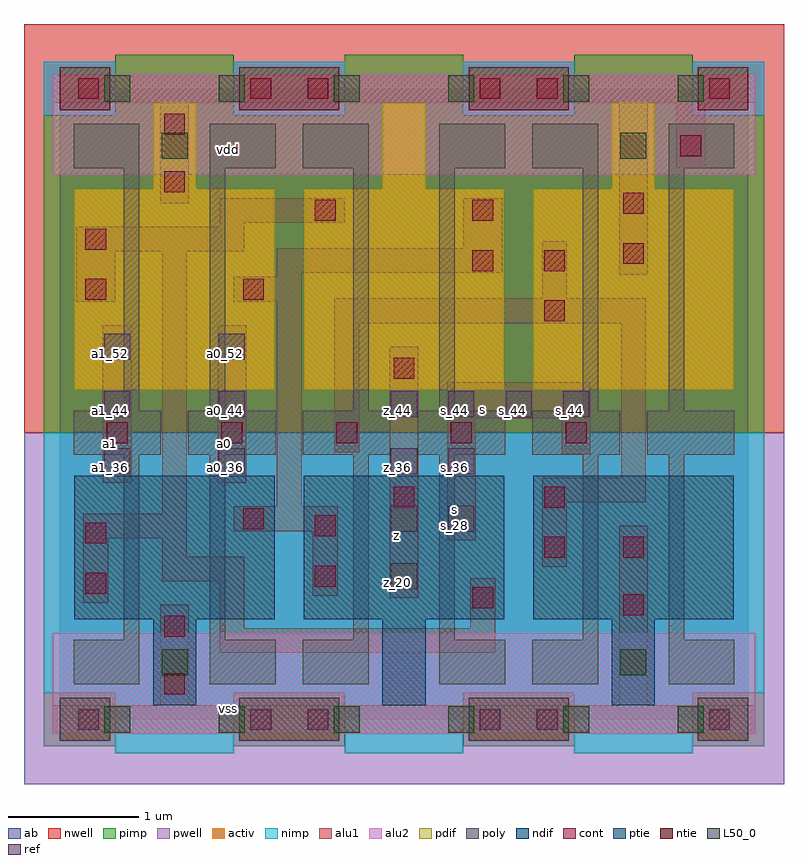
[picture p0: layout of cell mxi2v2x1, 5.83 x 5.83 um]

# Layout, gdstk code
import gdstk
lib = gdstk.Library(unit=1e-6, precision=2.5e-09)
def R(c, l, rs):  # rectangles x0, y0, x1, y1
    for r in rs: c.add(gdstk.rectangle(r[:2], r[2:], *l))
def A(c, l, x, y, w, h, nx, ny, dx, dy):  # array of equal rectangles
    R(c, l, [(x+i*dx, y+j*dy, x+i*dx+w, y+j*dy+h) for i in range(nx) for j in range(ny)])
ndif = (3, 0)
pdif = (4, 0)
ntie = (5, 0)
ptie = (6, 0)
ref = (24, 0)
cont = (25, 0)
pwell = (41, 0)
nwell = (42, 0)
activ = (43, 0)
pimp = (44, 0)
nimp = (45, 0)
poly = (46, 0)
alu1 = (49, 0)
L50_0 = (50, 0)
alu2 = (51, 0)
ab = (63, 0)

mxi2v2x1 = lib.new_cell('mxi2v2x1')
A(mxi2v2x1, ndif, 0.715, 0.11, 0.33, 0.66, 3, 1, 1.76, 0)
A(mxi2v2x1, ndif, 0.11, 0.77, 1.54, 1.1, 3, 1, 1.76, 0)
A(mxi2v2x1, pdif, 0.11, 2.53, 1.54, 1.54, 3, 1, 1.76, 0)
A(mxi2v2x1, pdif, 0.715, 4.07, 0.33, 0.66, 3, 1, 1.76, 0)
R(mxi2v2x1, ntie, [(0,4.675,0.385,5.005), (1.375,4.675,2.145,5.005), (3.135,4.675,3.905,5.005), (4.895,4.675,5.28,5.005)])
R(mxi2v2x1, ptie, [(0,-0.165,0.385,0.165), (1.375,-0.165,2.145,0.165), (3.135,-0.165,3.905,0.165), (4.895,-0.165,5.28,0.165)])
A(mxi2v2x1, ref, 2.54, 1, 0.2, 0.2, 1, 3, 0, 0.44)
A(mxi2v2x1, ref, 0.34, 1.88, 0.2, 0.2, 1, 3, 0, 0.44)
A(mxi2v2x1, ref, 1.22, 1.88, 0.2, 0.2, 1, 3, 0, 0.44)
A(mxi2v2x1, ref, 2.54, 2.32, 0.2, 0.2, 4, 1, 0.44, 0)
R(mxi2v2x1, ref, [(2.98,1.44,3.18,1.64), (2.98,1.88,3.18,2.08)])
A(mxi2v2x1, cont, 0.36, 2.12, 0.16, 0.16, 5, 1, 0.88, 0)
R(mxi2v2x1, cont, [(0.14,-0.08,0.3,0.08), (1.46,-0.08,1.62,0.08), (1.9,-0.08,2.06,0.08), (3.22,-0.08,3.38,0.08), (3.66,-0.08,3.82,0.08), (4.98,-0.08,5.14,0.08), (0.8,0.195,0.96,0.355), (0.8,0.635,0.96,0.795), (4.32,0.8,4.48,0.96), (3.165,0.855,3.325,1.015), (0.195,0.965,0.355,1.125), (1.955,1.02,2.115,1.18), (3.715,1.24,3.875,1.4), (4.32,1.24,4.48,1.4), (0.195,1.35,0.355,1.51), (1.955,1.405,2.115,1.565), (1.405,1.46,1.565,1.62), (2.56,1.625,2.72,1.785), (3.715,1.625,3.875,1.785), (2.56,2.615,2.72,2.775), (3.715,3.055,3.875,3.215), (0.195,3.22,0.355,3.38), (1.405,3.22,1.565,3.38), (3.165,3.44,3.325,3.6), (3.715,3.44,3.875,3.6), (4.32,3.495,4.48,3.655), (0.195,3.605,0.355,3.765), (1.955,3.825,2.115,3.985), (3.165,3.825,3.325,3.985), (4.32,3.88,4.48,4.04), (0.8,4.045,0.96,4.205), (4.76,4.32,4.92,4.48), (0.8,4.485,0.96,4.645), (0.14,4.76,0.3,4.92), (1.46,4.76,1.62,4.92), (1.9,4.76,2.06,4.92), (3.22,4.76,3.38,4.92), (3.66,4.76,3.82,4.92), (4.98,4.76,5.14,4.92)])
R(mxi2v2x1, pwell, [(-0.275,-0.495,5.555,2.2)])
R(mxi2v2x1, nwell, [(-0.275,2.2,5.555,5.335)])
A(mxi2v2x1, activ, 0.715, 0.11, 0.33, 0.66, 3, 2, 1.76, 3.96)
A(mxi2v2x1, activ, 0.11, 0.77, 1.54, 1.1, 3, 1, 1.76, 0)
A(mxi2v2x1, activ, 0.11, 2.53, 1.54, 1.54, 3, 1, 1.76, 0)
R(mxi2v2x1, activ, [(0,-0.165,0.385,0.165), (1.375,-0.165,2.145,0.165), (3.135,-0.165,3.905,0.165), (4.895,-0.165,5.28,0.165), (0,4.675,0.385,5.005), (1.375,4.675,2.145,5.005), (3.135,4.675,3.905,5.005), (4.895,4.675,5.28,5.005)])
A(mxi2v2x1, pimp, 0.425, 4.635, 0.91, 0.465, 3, 1, 1.76, 0)
R(mxi2v2x1, pimp, [(-0.125,-0.205,0.425,0.205), (1.335,-0.205,2.185,0.205), (3.095,-0.205,3.945,0.205), (4.855,-0.205,5.405,0.205), (-0.125,2.2,5.405,4.635)])
A(mxi2v2x1, nimp, 0.425, -0.26, 0.91, 0.465, 3, 1, 1.76, 0)
R(mxi2v2x1, nimp, [(-0.125,0.205,5.405,2.2), (-0.125,4.635,0.425,5.045), (1.335,4.635,2.185,5.045), (3.095,4.635,3.945,5.045), (4.855,4.635,5.405,5.045)])
A(mxi2v2x1, poly, 0.105, 2.03, 0.67, 0.34, 6, 1, 0.88, 0)
R(mxi2v2x1, poly, [(0.105,0.27,0.61,0.61), (1.15,0.27,1.655,0.61), (1.865,0.27,2.37,0.61), (2.91,0.27,3.415,0.61), (3.625,0.27,4.13,0.61), (4.67,0.27,5.175,0.61), (0.49,0.61,0.61,2.03), (1.15,0.61,1.27,2.03), (2.25,0.61,2.37,2.03), (2.91,0.61,3.03,2.03), (4.01,0.61,4.13,2.03), (4.67,0.61,4.79,2.03), (0.49,2.37,0.61,4.23), (1.15,2.37,1.27,4.23), (2.25,2.37,2.37,4.23), (2.91,2.37,3.03,4.23), (4.01,2.37,4.13,4.23), (4.67,2.37,4.79,4.23), (0.105,4.23,0.61,4.57), (1.15,4.23,1.655,4.57), (1.865,4.23,2.37,4.57), (2.91,4.23,3.415,4.57), (3.625,4.23,4.13,4.57), (4.67,4.23,5.175,4.57)])
R(mxi2v2x1, alu1, [(-0.055,-0.11,5.335,0.11), (0.77,0.11,0.99,0.88), (4.29,0.11,4.51,1.485), (1.225,0.51,3.34,0.7), (1.225,0.7,1.415,1.06), (3.15,0.7,3.34,1.085), (0.18,0.895,0.37,1.39), (2.53,0.935,2.75,2.86), (1.94,0.95,2.13,1.445), (0.785,1.06,1.415,1.25), (3.7,1.17,3.89,1.665), (0.785,1.25,0.975,1.39), (2.97,1.375,3.19,2.31), (0.18,1.39,0.975,1.58), (1.335,1.445,2.13,1.635), (0.785,1.58,0.975,3.59), (1.665,1.635,1.855,3.205), (3.7,1.665,4.495,1.855), (0.33,1.815,0.55,3.025), (1.21,1.815,1.43,3.025), (4.305,1.855,4.495,3.04), (3.85,2.035,4.07,2.31), (2.105,2.05,2.295,3.04), (2.97,2.31,4.07,2.585), (2.105,3.04,4.495,3.23), (0.125,3.205,0.425,3.59), (1.335,3.205,1.855,3.395), (3.7,3.23,3.89,3.67), (1.665,3.395,1.855,3.425), (4.29,3.41,4.51,4.73), (1.665,3.425,3.395,3.615), (0.125,3.59,1.415,3.78), (3.095,3.615,3.395,4), (1.225,3.78,1.415,3.81), (1.225,3.81,2.185,4), (0.77,3.96,0.99,4.73), (4.73,4.235,4.95,4.73), (-0.055,4.73,5.335,4.95)])
A(mxi2v2x1, L50_0, 0.34, -0.1, 0.2, 0.2, 6, 2, 0.88, 4.84)
R(mxi2v2x1, L50_0, [(0.78,0.34,0.98,0.54), (4.3,0.34,4.5,0.54), (0.78,4.3,0.98,4.5), (4.3,4.3,4.5,4.5)])
R(mxi2v2x1, alu2, [(-0.055,-0.11,5.335,0.66), (-0.055,4.18,5.335,4.95)])
R(mxi2v2x1, ab, [(0,0,5.28,4.84)])
mxi2v2x1.add(gdstk.Label('s', (3.025,1.6075), layer=49, texttype=0))
mxi2v2x1.add(gdstk.Label('s', (3.245,2.3775), layer=49, texttype=0))
mxi2v2x1.add(gdstk.Label('z', (2.585,1.415), layer=49, texttype=0))
mxi2v2x1.add(gdstk.Label('a0', (1.265,2.1175), layer=49, texttype=0))
mxi2v2x1.add(gdstk.Label('a1', (0.385,2.1175), layer=49, texttype=0))
mxi2v2x1.add(gdstk.Label('vss', (1.2925,0.0825), layer=51, texttype=0))
mxi2v2x1.add(gdstk.Label('vdd', (1.2925,4.3725), layer=51, texttype=0))
mxi2v2x1.add(gdstk.Label('a1_44', (0.39,2.37), layer=24, texttype=0))
mxi2v2x1.add(gdstk.Label('a1_52', (0.39,2.81), layer=24, texttype=0))
mxi2v2x1.add(gdstk.Label('a1_36', (0.39,1.93), layer=24, texttype=0))
mxi2v2x1.add(gdstk.Label('a0_36', (1.27,1.93), layer=24, texttype=0))
mxi2v2x1.add(gdstk.Label('a0_44', (1.27,2.37), layer=24, texttype=0))
mxi2v2x1.add(gdstk.Label('a0_52', (1.27,2.81), layer=24, texttype=0))
mxi2v2x1.add(gdstk.Label('s_44', (3.47,2.37), layer=24, texttype=0))
mxi2v2x1.add(gdstk.Label('z_20', (2.59,1.05), layer=24, texttype=0))
mxi2v2x1.add(gdstk.Label('s_44', (3.91,2.37), layer=24, texttype=0))
mxi2v2x1.add(gdstk.Label('s_28', (3.03,1.49), layer=24, texttype=0))
mxi2v2x1.add(gdstk.Label('s_36', (3.03,1.93), layer=24, texttype=0))
mxi2v2x1.add(gdstk.Label('s_44', (3.03,2.37), layer=24, texttype=0))
mxi2v2x1.add(gdstk.Label('z_28', (2.59,1.49), layer=24, texttype=0))
mxi2v2x1.add(gdstk.Label('z_36', (2.59,1.93), layer=24, texttype=0))
mxi2v2x1.add(gdstk.Label('z_44', (2.59,2.37), layer=24, texttype=0))

lib.write_gds('mxi2v2x1.gds')
